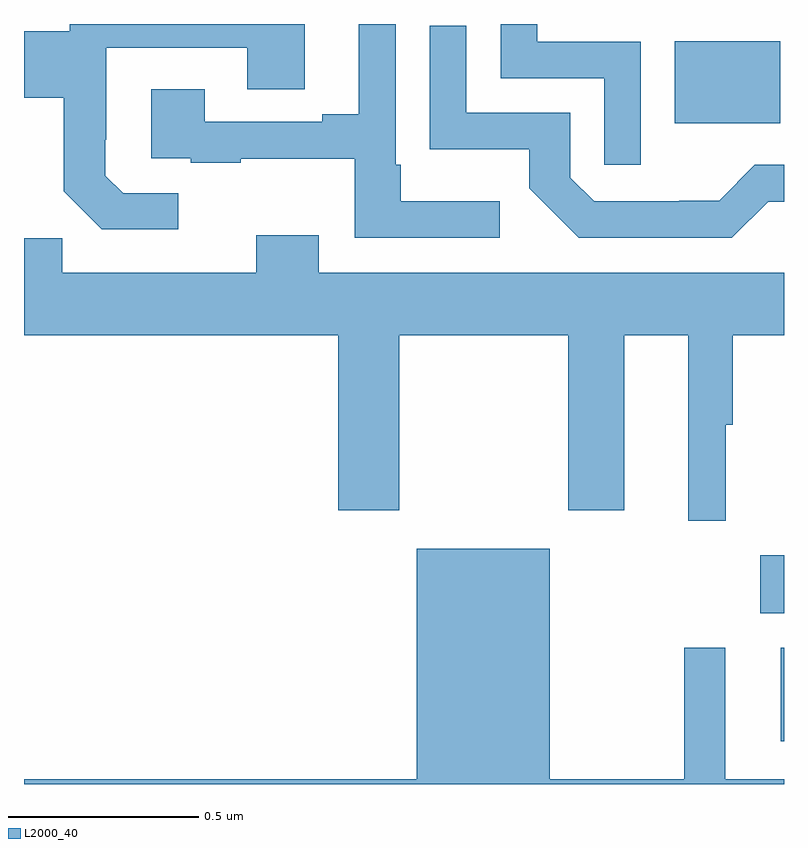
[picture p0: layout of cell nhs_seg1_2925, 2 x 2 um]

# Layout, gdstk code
import gdstk
lib = gdstk.Library(unit=1e-6, precision=1e-09)
def R(c, l, rs):  # rectangles x0, y0, x1, y1
    for r in rs: c.add(gdstk.rectangle(r[:2], r[2:], *l))
def P(c, l, *ps):  # polygons
    for p in ps: c.add(gdstk.Polygon(p, *l))
L2000_40 = (2000, 40)

nhs_seg1_2925 = lib.new_cell('nhs_seg1_2925')
R(nhs_seg1_2925, L2000_40, [(148.991,569.312,149,569.557), (148.938,569.648,149,569.801), (148.712,570.938,148.99,571.153)])
P(nhs_seg1_2925, L2000_40, [(148.252,570.733),(147.991,570.733),(147.991,570.829),(147.978,570.829),(147.978,571.199),(147.881,571.199),(147.881,570.961),(147.785,570.961),(147.785,570.942),(147.475,570.942),(147.475,571.027),(147.335,571.027),(147.335,570.846),(147.439,570.846),(147.439,570.834),(147.571,570.834),(147.571,570.845),(147.87,570.845),(147.87,570.636),(148.252,570.636)],
  [(148.623,571.152),(148.35,571.152),(148.35,571.199),(148.254,571.199),(148.254,571.056),(148.527,571.056),(148.527,570.828),(148.623,570.828)],
  [(147.406,570.753),(147.261,570.753),(147.214,570.8),(147.214,570.895),(147.216,570.895),(147.216,571.136),(147.587,571.136),(147.587,571.027),(147.739,571.027),(147.739,571.199),(147.12,571.199),(147.12,571.18),(147,571.18),(147,571.005),(147.105,571.005),(147.105,570.759),(147.205,570.659),(147.406,570.659)],
  [(148.958,570.731),(149,570.731),(149,570.828),(148.923,570.828),(148.829,570.734),(148.724,570.734),(148.724,570.732),(148.5,570.732),(148.437,570.795),(148.437,570.966),(148.164,570.966),(148.164,571.195),(148.068,571.195),(148.068,570.869),(148.33,570.869),(148.33,570.767),(148.46,570.636),(148.863,570.636)],
  [(148.847,570.144),(148.865,570.144),(148.865,570.38),(149,570.38),(149,570.544),(147.775,570.544),(147.775,570.643),(147.611,570.643),(147.611,570.544),(147.101,570.544),(147.101,570.635),(147,570.635),(147,570.38),(147.827,570.38),(147.827,569.919),(147.987,569.919),(147.987,570.38),(148.432,570.38),(148.432,569.919),(148.579,569.919),(148.579,570.38),(148.748,570.38),(148.748,569.892),(148.847,569.892)],
  [(149,569.212),(148.846,569.212),(148.846,569.557),(148.737,569.557),(148.737,569.212),(148.384,569.212),(148.384,569.818),(148.034,569.818),(148.034,569.212),(147,569.212),(147,569.199),(149,569.199)])

lib.write_gds('nhs_seg1_2925.gds')
